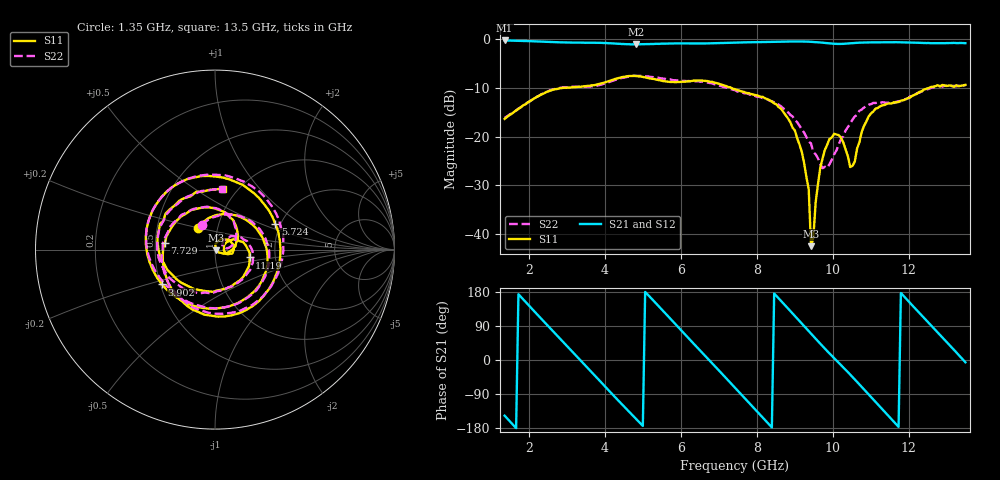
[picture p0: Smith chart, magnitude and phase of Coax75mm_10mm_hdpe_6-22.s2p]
!Agilent Technologies,N5230C,MY48100320,A.08.04.10
!Agilent N5230C: A.08.04.10
!Date: Tuesday, August 23, 2016 04:19:49
!Correction: S11(Full 2 Port(1,2))
!S21(Full 2 Port(1,2))
!S12(Full 2 Port(1,2))
!S22(Full 2 Port(1,2))
!S2P File: Measurements: S11, S21, S12, S22:
# Hz S  dB  R 50
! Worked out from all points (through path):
!   201 points, 1.35 GHz to 13.5 GHz, reference 50 ohm
!   highest |S21| = -0.20 dB at 1.35 GHz (marker M1); lowest = -1.0 dB at 4.813 GHz (marker M2)
!   group delay of S21, straight-line fit = 297 ps
!   lowest |S11| = -42.5 dB at 9.43 GHz (marker M3), VSWR 1.02, Z = 50.6 - j0.461 ohm
!   |S11| at or under -10 dB: start of sweep to 2.855 GHz; 7.339 GHz to 12.53 GHz (5.187 GHz wide, 52.2 % of centre)
!   |S22| runs from -26.5 to -7.5 dB; largest |S21 - S12| = 0.0063
!   S11 on the Smith chart (normalised r, x): 1.35 GHz: 0.81, +0.20; 3.902 GHz: 0.51, -0.23; 5.724 GHz: 1.89, +0.61; 7.729 GHz: 0.56, +0.05; 11.19 GHz: 1.47, -0.13; 13.5 GHz: 0.86, +0.66
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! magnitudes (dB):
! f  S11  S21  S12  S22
! 1.35 GHz  -16.3  -0.2  -0.2  -16.1
! 3.416 GHz  -9.6  -0.7  -0.7  -9.8
! 3.902 GHz  -9.0  -0.7  -0.7  -9.3
! 4.813 GHz  -7.5  -1.0  -1.0  -7.5
! 5.42 GHz  -8.4  -0.9  -0.9  -7.9
! 5.724 GHz  -8.7  -0.8  -0.8  -8.2
! 7.425 GHz  -10.2  -0.7  -0.7  -10.4
! 7.729 GHz  -11.0  -0.6  -0.6  -11.0
! 8.519 GHz  -13.4  -0.5  -0.5  -13.2
! 9.005 GHz  -18.7  -0.4  -0.4  -16.6
! 9.369 GHz  -30.8  -0.5  -0.5  -21.0
! 9.43 GHz  -42.5  -0.5  -0.5  -21.4
! 9.491 GHz  -40.8  -0.5  -0.5  -23.1
! 9.551 GHz  -33.5  -0.5  -0.5  -23.6
! 9.673 GHz  -26.4  -0.6  -0.6  -25.6
! 9.916 GHz  -20.5  -0.8  -0.8  -25.6
! 10.22 GHz  -20.2  -0.9  -0.9  -20.4
! 10.52 GHz  -26.0  -0.8  -0.8  -16.5
! 10.83 GHz  -17.8  -0.6  -0.6  -14.0
! 11.19 GHz  -14.1  -0.6  -0.6  -12.9
! 11.5 GHz  -13.1  -0.6  -0.6  -13.0
! 13.5 GHz  -9.3  -0.8  -0.8  -9.4
